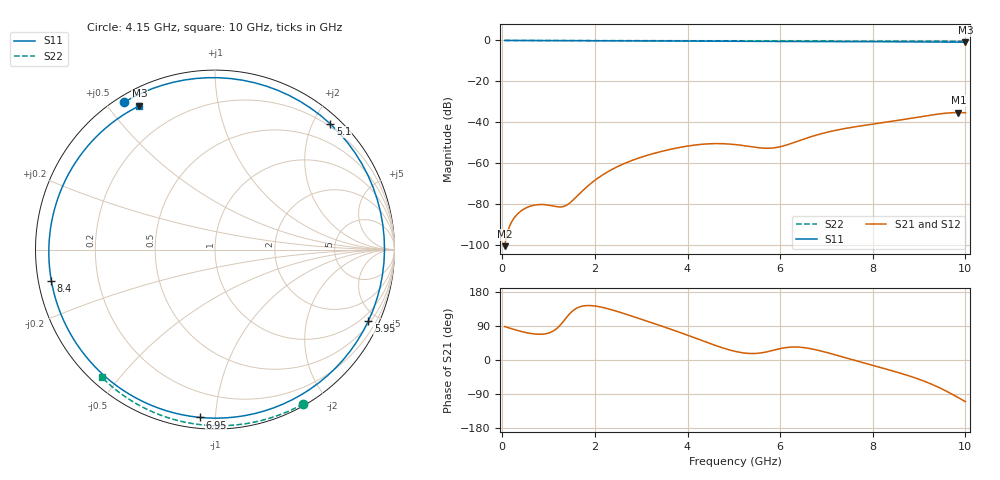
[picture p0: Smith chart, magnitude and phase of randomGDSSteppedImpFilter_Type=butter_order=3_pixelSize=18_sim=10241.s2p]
! freq	dB(S11)	phase(S11)	dB(S12)	phase(S12)
!  dB(S21)	phase(S21)	dB(S22)	phase(S22)
!S-par simulation data
#  GHz  S  DB  R 50
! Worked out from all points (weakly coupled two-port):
!   200 points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, 50 MHz to 10 GHz, reference 50 ohm
!   highest |S21| = -35.21 dB at 9.85 GHz (marker M1); lowest = -100.4 dB at 50 MHz (marker M2)
!   lowest |S11| = -0.9 dB at 10 GHz (marker M3), VSWR 20.05, Z = 3.4 + j30.1 ohm
!   |S11| at or under -10 dB: nowhere
!   |S22| runs from -0.4 to 0.0 dB; largest |S21 - S12| = 0
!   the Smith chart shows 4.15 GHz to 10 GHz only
!   S11 on the Smith chart (normalised r, x): 4.15 GHz: 0.02, +0.56; 5.1 GHz: 0.16, +2.26; 5.95 GHz: 0.62, -4.43; 6.95 GHz: 0.06, -0.91; 8.4 GHz: 0.04, -0.09; 10 GHz: 0.07, +0.60
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0.05  -0.00 -3.1  -100.45 88.2  -100.45 88.2  -0.00 -0.8
0.45  -0.04 -27.5  -82.55 74.1  -82.55 74.1  -0.01 -6.8
0.95  -0.08 -57.2  -80.26 69.5  -80.26 69.5  -0.02 -14.3
1.4  -0.10 -82.8  -80.29 114.4  -80.29 114.4  -0.03 -21.0
1.75  -0.12 -102.0  -73.05 142.6  -73.05 142.6  -0.03 -26.2
2.65  -0.17 -149.7  -59.95 121.7  -59.95 121.7  -0.05 -39.3
3.4  -0.23 169.1  -54.39 91.2  -54.39 91.2  -0.07 -49.9
4.15  -0.31 121.8  -51.09 58.7  -51.09 58.7  -0.08 -60.2
4.6  -0.38 88.7  -50.37 38.6  -50.37 38.6  -0.10 -66.3
5.05  -0.44 51.7  -50.90 22.2  -50.90 22.2  -0.11 -72.2
5.1  -0.44 47.5  -51.03 20.9  -51.03 20.9  -0.11 -72.9
5.55  -0.49 8.5  -52.41 18.1  -52.41 18.1  -0.13 -78.7
5.95  -0.51 -25.0  -52.15 28.7  -52.15 28.7  -0.14 -83.8
6.35  -0.53 -55.6  -49.43 34.3  -49.43 34.3  -0.16 -88.8
6.7  -0.54 -79.6  -46.77 28.8  -46.77 28.8  -0.18 -93.1
6.95  -0.55 -95.2  -45.18 21.6  -45.18 21.6  -0.19 -96.1
7.65  -0.59 -133.5  -42.04 -2.3  -42.04 -2.3  -0.24 -104.5
8.35  -0.64 -167.0  -39.68 -26.1  -39.68 -26.1  -0.29 -112.7
8.4  -0.65 -169.3  -39.51 -27.8  -39.51 -27.8  -0.29 -113.2
9.1  -0.72 159.1  -36.99 -55.4  -36.99 -55.4  -0.35 -121.3
9.85  -0.84 124.7  -35.21 -99.5  -35.21 -99.5  -0.43 -129.8
10  -0.87 117.7  -35.31 -109.8  -35.31 -109.8  -0.44 -131.5
